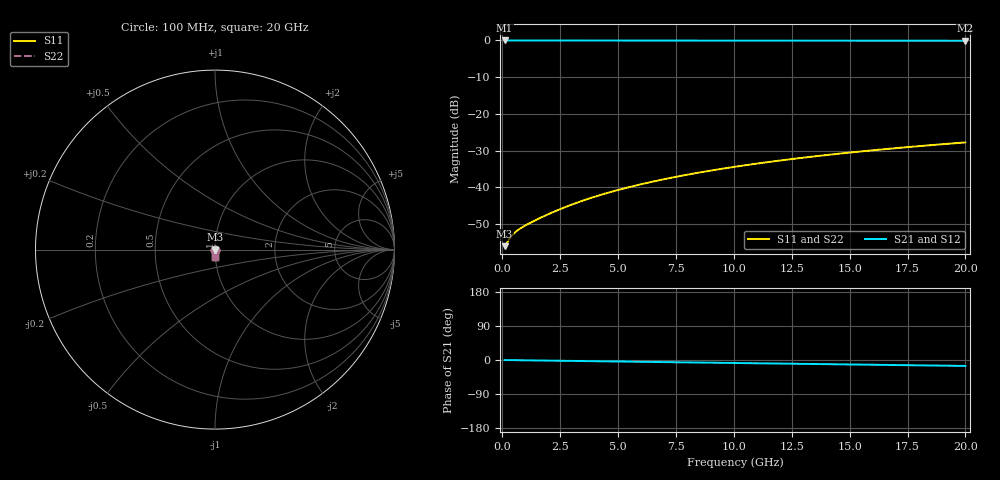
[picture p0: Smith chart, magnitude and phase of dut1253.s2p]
! Touchstone file exported from HFSS 2026.1.0
!  File:  C:/ffzhzh/LocalFiles/Ansys_Project_Files/temp_train_TMRDL_1253_1783163854_43440.aedt
!  Generated:  07:18:40 PM Jul  4, 2026
!  Design:  TMRDL
!  Project:  temp_train_TMRDL_1253_1783163854_43440
! Variables:
!  h_bsmrdl = 2um
!  h_ox = 20um
!  h_rdl = 5um
!  h_sub = 80um
!  h_tmrdl = 2.81um
!  h_tsv = 80um
!  h_via = 3um
!  l_bsmrdl = 300um
!  l_sub = 664.67um
!  l_tmrdl = 264.67um
!  m_sub = 200um
!  pitch = 29.77um
!  r_tsv = 6um
!  s_tmrdl = 10um
!  w_bsmrdl = 18um
!  w_sub = 500um
!  w_tmrdl = 27.37um
!  x_tsv_center1 = 278.355um
!  x_tsv_center2 = 596.355um
!  x_tsv_center3 = 888.395um
!  x_tsv_center4 = 1206.395um
!  x_tsv_center5 = 1498.435um
!  x_tsv_center6 = 1816.435um
# GHz S MA R 50.000000
! Terminal data exported
! Port[1] = TM_RDL1_1_T1
! Port[2] = TM_RDL1_1_T2
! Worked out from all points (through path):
!   200 points, 100 MHz to 20 GHz, reference 50 ohm
!   highest |S21| = -0.01 dB at 100 MHz (marker M1); lowest = -0.1 dB at 20 GHz (marker M2)
!   group delay of S21, straight-line fit = 2.17 ps
!   lowest |S11| = -56.0 dB at 100 MHz (marker M3), VSWR 1.00, Z = 50.2 + j0.0165 ohm
!   |S11| at or under -10 dB: start of sweep to end of sweep
!   |S22| runs from -56.0 to -27.8 dB; largest |S21 - S12| = 1.3e-14
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0.1  0.001584 6.0  0.9984 -0.1  0.9984 -0.1  0.001584 6.0
! Gamma 0 0 0 0
! Port Impedance 50 0 50 0
0.3  0.001965 8.3  0.9981 -0.3  0.9981 -0.3  0.001965 8.3
0.4  0.002167 5.8  0.9978 -0.4  0.9978 -0.4  0.002168 5.8
0.5  0.002349 2.3  0.9976 -0.5  0.9976 -0.5  0.002349 2.3
0.6  0.00251 -1.5  0.9975 -0.5  0.9975 -0.5  0.00251 -1.4
0.7  0.002655 -5.2  0.9973 -0.6  0.9973 -0.6  0.002655 -5.2
0.9  0.002915 -12.4  0.9971 -0.8  0.9971 -0.8  0.002916 -12.4
1.4  0.003532 -26.9  0.9968 -1.2  0.9968 -1.2  0.003532 -26.9
2.1  0.00447 -40.8  0.9965 -1.7  0.9965 -1.7  0.004471 -40.8
2.8  0.005513 -49.9  0.9963 -2.3  0.9963 -2.3  0.005514 -49.9
3.5  0.006634 -56.3  0.996 -2.8  0.996 -2.8  0.006634 -56.3
4.2  0.007812 -60.9  0.9958 -3.4  0.9958 -3.4  0.007812 -60.9
5  0.009215 -64.8  0.9955 -4.0  0.9955 -4.0  0.009216 -64.8
5.9  0.01086 -68.2  0.9951 -4.7  0.9951 -4.7  0.01086 -68.2
6.8  0.01255 -70.8  0.9947 -5.4  0.9947 -5.4  0.01256 -70.8
8.4  0.0157 -74.5  0.9939 -6.7  0.9939 -6.7  0.0157 -74.4
10.1  0.01918 -77.6  0.9931 -8.0  0.9931 -8.0  0.01919 -77.5
11.7  0.02257 -80.1  0.9923 -9.3  0.9923 -9.3  0.02257 -80.1
13.4  0.02624 -82.5  0.9915 -10.6  0.9915 -10.6  0.02625 -82.5
15  0.02975 -84.7  0.9907 -11.8  0.9907 -11.8  0.02976 -84.6
16.7  0.03352 -86.8  0.9899 -13.1  0.9899 -13.1  0.03353 -86.8
20  0.04089 -90.7  0.9885 -15.6  0.9885 -15.6  0.0409 -90.7
